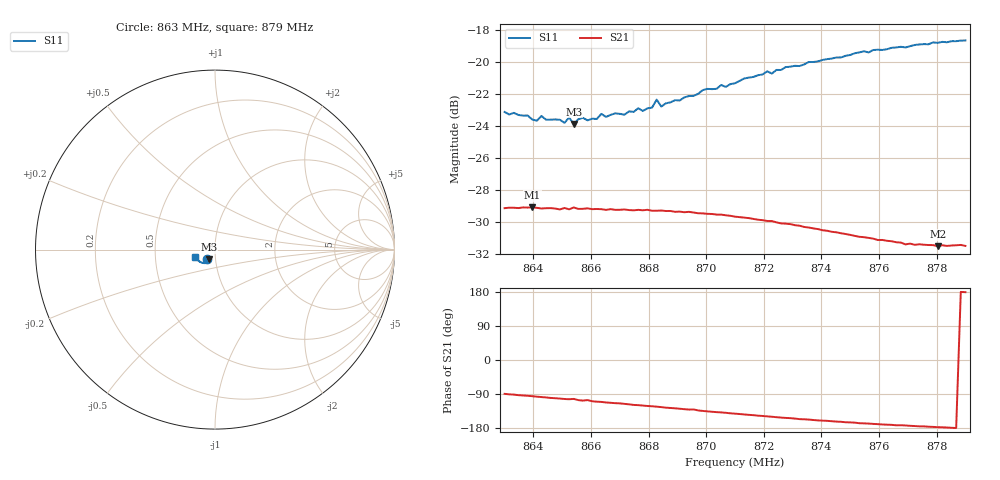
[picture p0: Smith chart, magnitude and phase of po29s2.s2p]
# HZ S RI R 50
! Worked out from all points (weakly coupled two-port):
!   101 points, 863 MHz to 879 MHz, reference 50 ohm
!   highest |S21| = -29.08 dB at 863.96 MHz (marker M1); lowest = -31.5 dB at 878.04 MHz (marker M2)
!   lowest |S11| = -23.9 dB at 865.4 MHz (marker M3), VSWR 1.14, Z = 46.6 - j5.16 ohm
!   |S11| at or under -10 dB: start of sweep to end of sweep
!   S12 and S22 are empty: the file has one direction only
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8.63e8  -0.0453 -0.0533  0.000418 -0.035  0 0  0 0
8.6396e8  -0.0402 -0.0526  -0.00335 -0.035  0 0  0 0
8.6412e8  -0.0396 -0.0524  -0.0041 -0.0348  0 0  0 0
8.6428e8  -0.0403 -0.0547  -0.00477 -0.0345  0 0  0 0
8.6508e8  -0.0372 -0.0529  -0.00783 -0.0341  0 0  0 0
8.6524e8  -0.0388 -0.0549  -0.00812 -0.0337  0 0  0 0
8.654e8  -0.0326 -0.0552  -0.00772 -0.0343  0 0  0 0
8.6572e8  -0.0347 -0.0573  -0.0103 -0.0332  0 0  0 0
8.6716e8  -0.034 -0.0595  -0.0151 -0.0312  0 0  0 0
8.6764e8  -0.0356 -0.0624  -0.0168 -0.0302  0 0  0 0
8.678e8  -0.0341 -0.0616  -0.0173 -0.0298  0 0  0 0
8.6812e8  -0.0354 -0.0629  -0.0182 -0.0291  0 0  0 0
8.6828e8  -0.0402 -0.065  -0.0188 -0.0287  0 0  0 0
8.6844e8  -0.0351 -0.0637  -0.0194 -0.0284  0 0  0 0
8.6988e8  -0.041 -0.0708  -0.0236 -0.0241  0 0  0 0
8.71e8  -0.0463 -0.0725  -0.0258 -0.0204  0 0  0 0
8.7212e8  -0.0551 -0.0758  -0.0273 -0.0165  0 0  0 0
8.7228e8  -0.0547 -0.0742  -0.0275 -0.016  0 0  0 0
8.7372e8  -0.0664 -0.0751  -0.0281 -0.0112  0 0  0 0
8.7644e8  -0.0918 -0.0624  -0.0272 -0.00425  0 0  0 0
8.7804e8  -0.1034 -0.0503  -0.0266 -0.00127  0 0  0 0
8.79e8  -0.11 -0.04  -0.0266 0.000478  0 0  0 0
